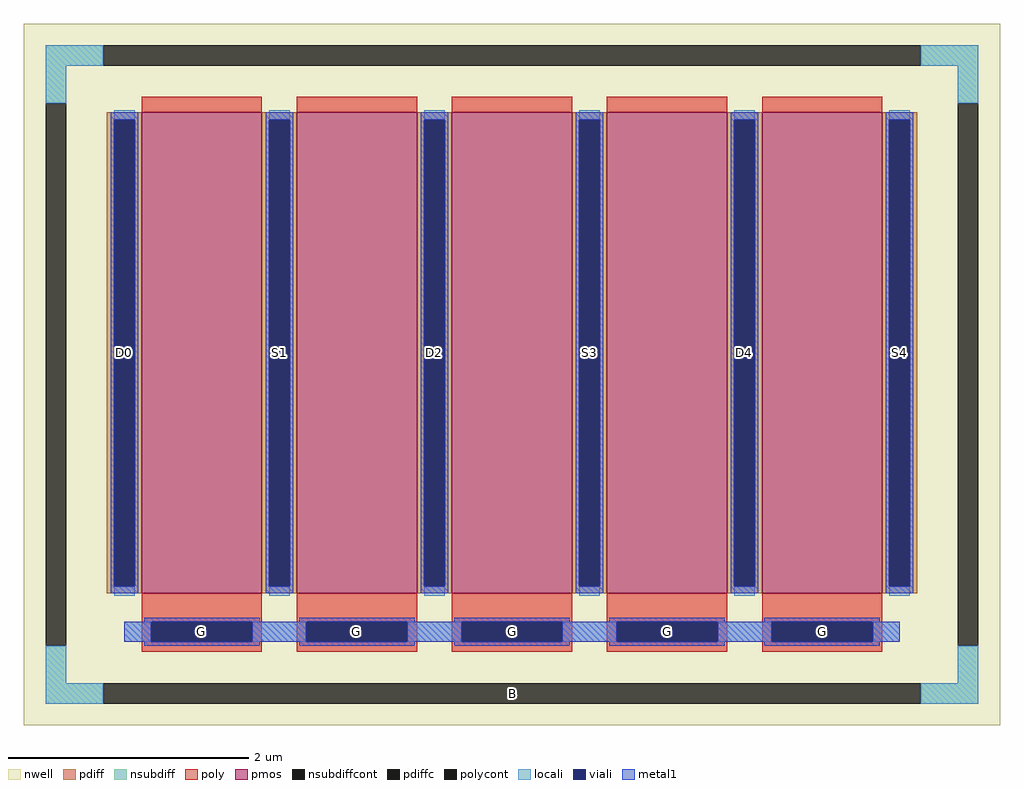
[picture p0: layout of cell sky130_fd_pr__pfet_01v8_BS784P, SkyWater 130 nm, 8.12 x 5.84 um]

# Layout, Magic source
magic
tech sky130A
magscale 1 2
<< nwell >>
rect -812 -584 812 584
<< pmos >>
rect -616 -364 -416 436
rect -358 -364 -158 436
rect -100 -364 100 436
rect 158 -364 358 436
rect 416 -364 616 436
<< pdiff >>
rect -674 424 -616 436
rect -674 -352 -662 424
rect -628 -352 -616 424
rect -674 -364 -616 -352
rect -416 424 -358 436
rect -416 -352 -404 424
rect -370 -352 -358 424
rect -416 -364 -358 -352
rect -158 424 -100 436
rect -158 -352 -146 424
rect -112 -352 -100 424
rect -158 -364 -100 -352
rect 100 424 158 436
rect 100 -352 112 424
rect 146 -352 158 424
rect 100 -364 158 -352
rect 358 424 416 436
rect 358 -352 370 424
rect 404 -352 416 424
rect 358 -364 416 -352
rect 616 424 674 436
rect 616 -352 628 424
rect 662 -352 674 424
rect 616 -364 674 -352
<< pdiffc >>
rect -662 -352 -628 424
rect -404 -352 -370 424
rect -146 -352 -112 424
rect 112 -352 146 424
rect 370 -352 404 424
rect 628 -352 662 424
<< nsubdiff >>
rect -776 514 -680 548
rect 680 514 776 548
rect -776 451 -742 514
rect 742 451 776 514
rect -776 -514 -742 -451
rect 742 -514 776 -451
rect -776 -548 -680 -514
rect 680 -548 776 -514
<< nsubdiffcont >>
rect -680 514 680 548
rect -776 -451 -742 451
rect 742 -451 776 451
rect -680 -548 680 -514
<< poly >>
rect -616 436 -416 462
rect -358 436 -158 462
rect -100 436 100 462
rect 158 436 358 462
rect 416 436 616 462
rect -616 -411 -416 -364
rect -616 -445 -600 -411
rect -432 -445 -416 -411
rect -616 -461 -416 -445
rect -358 -411 -158 -364
rect -358 -445 -342 -411
rect -174 -445 -158 -411
rect -358 -461 -158 -445
rect -100 -411 100 -364
rect -100 -445 -84 -411
rect 84 -445 100 -411
rect -100 -461 100 -445
rect 158 -411 358 -364
rect 158 -445 174 -411
rect 342 -445 358 -411
rect 158 -461 358 -445
rect 416 -411 616 -364
rect 416 -445 432 -411
rect 600 -445 616 -411
rect 416 -461 616 -445
<< polycont >>
rect -600 -445 -432 -411
rect -342 -445 -174 -411
rect -84 -445 84 -411
rect 174 -445 342 -411
rect 432 -445 600 -411
<< locali >>
rect -776 514 -680 548
rect 680 514 776 548
rect -776 451 -742 514
rect 742 451 776 514
rect -662 424 -628 440
rect -662 -368 -628 -352
rect -404 424 -370 440
rect -404 -368 -370 -352
rect -146 424 -112 440
rect -146 -368 -112 -352
rect 112 424 146 440
rect 112 -368 146 -352
rect 370 424 404 440
rect 370 -368 404 -352
rect 628 424 662 440
rect 628 -368 662 -352
rect -645 -445 -600 -411
rect -432 -445 -342 -411
rect -174 -445 -84 -411
rect 84 -445 174 -411
rect 342 -445 432 -411
rect 600 -445 645 -411
rect -776 -514 -742 -451
rect 742 -514 776 -451
rect -776 -548 -680 -514
rect 680 -548 776 -514
<< viali >>
rect -662 -352 -628 424
rect -404 -352 -370 424
rect -146 -352 -112 424
rect 112 -352 146 424
rect 370 -352 404 424
rect 628 -352 662 424
rect -600 -445 -432 -411
rect -342 -445 -174 -411
rect -84 -445 84 -411
rect 174 -445 342 -411
rect 432 -445 600 -411
<< metal1 >>
rect -668 424 -622 436
rect -668 -352 -662 424
rect -628 -352 -622 424
rect -668 -364 -622 -352
rect -410 424 -364 436
rect -410 -352 -404 424
rect -370 -352 -364 424
rect -410 -364 -364 -352
rect -152 424 -106 436
rect -152 -352 -146 424
rect -112 -352 -106 424
rect -152 -364 -106 -352
rect 106 424 152 436
rect 106 -352 112 424
rect 146 -352 152 424
rect 106 -364 152 -352
rect 364 424 410 436
rect 364 -352 370 424
rect 404 -352 410 424
rect 364 -364 410 -352
rect 622 424 668 436
rect 622 -352 628 424
rect 662 -352 668 424
rect 622 -364 668 -352
rect -612 -411 -420 -405
rect -354 -411 -162 -405
rect -96 -411 96 -405
rect 162 -411 354 -405
rect 420 -411 612 -405
rect -645 -445 -600 -411
rect -432 -445 -342 -411
rect -174 -445 -84 -411
rect 84 -445 174 -411
rect 342 -445 432 -411
rect 600 -445 645 -411
rect -612 -451 -420 -445
rect -354 -451 -162 -445
rect -96 -451 96 -445
rect 162 -451 354 -445
rect 420 -451 612 -445
<< labels >>
rlabel nsubdiffcont 0 -531 0 -531 0 B
port 1 nsew
rlabel pdiffc -645 36 -645 36 0 D0
port 2 nsew
rlabel polycont -516 -428 -516 -428 0 G
port 3 nsew
rlabel pdiffc -387 36 -387 36 0 S1
port 4 nsew
rlabel polycont -258 -428 -258 -428 0 G
port 3 nsew
rlabel pdiffc -129 36 -129 36 0 D2
port 5 nsew
rlabel polycont 0 -428 0 -428 0 G
port 3 nsew
rlabel pdiffc 129 36 129 36 0 S3
port 6 nsew
rlabel polycont 258 -428 258 -428 0 G
port 3 nsew
rlabel pdiffc 387 36 387 36 0 D4
port 7 nsew
rlabel pdiffc 645 36 645 36 0 S4
port 8 nsew
rlabel polycont 516 -428 516 -428 0 G
port 3 nsew
<< properties >>
string FIXED_BBOX -759 -531 759 531
string gencell sky130_fd_pr__pfet_01v8
string library sky130
string parameters w 4 l 1.0 m 1 nf 5 diffcov 100 polycov 100 guard 1 glc 1 grc 1 gtc 1 gbc 1 tbcov 100 rlcov 100 topc 0 botc 1 poverlap 0 doverlap 1 lmin 0.15 wmin 0.42 class mosfet compatible {sky130_fd_pr__pfet_01v8  sky130_fd_pr__pfet_01v8_lvt sky130_fd_pr__pfet_01v8_hvt  sky130_fd_pr__pfet_g5v0d10v5} full_metal 1 conn_gates 1 viasrc 100 viadrn 100 viagate 100 viagb 0 viagr 0 viagl 0 viagt 0 doports 1
<< end >>
